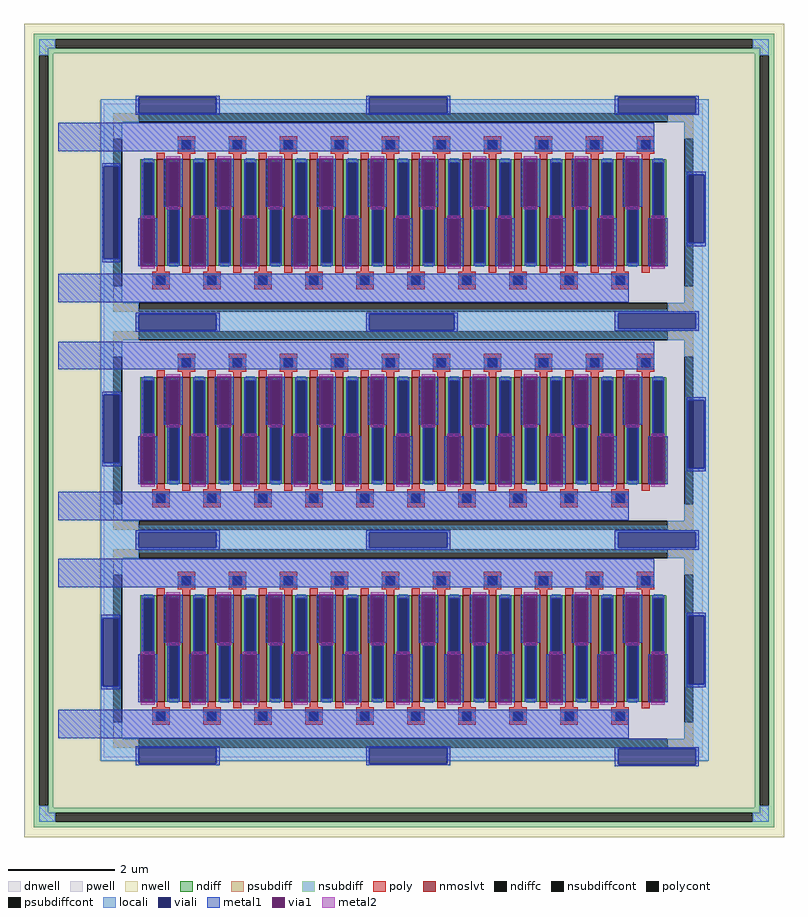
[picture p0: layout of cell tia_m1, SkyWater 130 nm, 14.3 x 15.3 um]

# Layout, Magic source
magic
tech sky130A
magscale 1 2
<< dnwell >>
rect 1480 -2240 4180 660
<< nwell >>
rect 1400 454 4260 740
rect 1400 -2034 1686 454
rect 3974 -2034 4260 454
rect 1400 -2320 4260 -2034
<< nsubdiff >>
rect 1437 683 4223 703
rect 1437 649 1517 683
rect 4143 649 4223 683
rect 1437 629 4223 649
rect 1437 623 1511 629
rect 1437 -2203 1457 623
rect 1491 -2203 1511 623
rect 1437 -2209 1511 -2203
rect 4149 623 4223 629
rect 4149 -2203 4169 623
rect 4203 -2203 4223 623
rect 4149 -2209 4223 -2203
rect 1437 -2229 4223 -2209
rect 1437 -2263 1517 -2229
rect 4143 -2263 4223 -2229
rect 1437 -2283 4223 -2263
<< nsubdiffcont >>
rect 1517 649 4143 683
rect 1457 -2203 1491 623
rect 4169 -2203 4203 623
rect 1517 -2263 4143 -2229
<< locali >>
rect 1457 649 1517 683
rect 4143 649 4203 683
rect 1457 623 1491 649
rect 4169 623 4203 649
rect 1688 404 1832 456
rect 2124 404 2700 456
rect 2992 404 3636 456
rect 3928 404 3976 456
rect 1688 376 3976 404
rect 1688 204 1764 376
rect 1688 -144 1700 204
rect 1756 -144 1764 204
rect 1688 -336 1764 -144
rect 3888 172 3976 376
rect 3888 -84 3900 172
rect 3960 -84 3976 172
rect 3888 -336 3976 -84
rect 1688 -348 3976 -336
rect 1688 -352 3636 -348
rect 1688 -412 1832 -352
rect 2124 -412 2700 -352
rect 3020 -408 3636 -352
rect 3928 -408 3976 -348
rect 3020 -412 3976 -408
rect 1688 -444 3976 -412
rect 1688 -656 1764 -444
rect 1688 -912 1700 -656
rect 1760 -912 1764 -656
rect 1688 -1148 1764 -912
rect 3888 -676 3976 -444
rect 3888 -932 3900 -676
rect 3960 -932 3976 -676
rect 3888 -1148 3976 -932
rect 1688 -1172 3976 -1148
rect 1688 -1232 1832 -1172
rect 2124 -1232 2700 -1172
rect 2992 -1232 3636 -1172
rect 3928 -1232 3976 -1172
rect 1688 -1248 3976 -1232
rect 1688 -1496 1764 -1248
rect 1688 -1752 1696 -1496
rect 1756 -1752 1764 -1496
rect 1688 -1952 1764 -1752
rect 3888 -1488 3976 -1248
rect 3888 -1744 3900 -1488
rect 3960 -1744 3976 -1488
rect 3888 -1952 3976 -1744
rect 1688 -1984 3976 -1952
rect 1688 -2032 1832 -1984
rect 2124 -2032 2700 -1984
rect 2992 -1988 3976 -1984
rect 2992 -2032 3636 -1988
rect 3928 -2032 3976 -1988
rect 1457 -2229 1491 -2203
rect 4169 -2229 4203 -2203
rect 1457 -2263 1517 -2229
rect 4143 -2263 4203 -2229
<< viali >>
rect 1832 404 2124 464
rect 2700 404 2992 464
rect 3636 404 3928 464
rect 1700 -144 1756 204
rect 3900 -84 3960 172
rect 1832 -412 2124 -352
rect 2700 -412 3020 -352
rect 3636 -408 3928 -348
rect 1700 -912 1760 -656
rect 3900 -932 3960 -676
rect 1832 -1232 2124 -1172
rect 2700 -1232 2992 -1172
rect 3636 -1232 3928 -1172
rect 1696 -1752 1756 -1496
rect 3900 -1744 3960 -1488
rect 1832 -2044 2124 -1984
rect 2700 -2044 2992 -1984
rect 3636 -2048 3928 -1988
<< metal1 >>
rect 1820 464 2136 470
rect 1820 404 1832 464
rect 2124 404 2136 464
rect 1820 398 2136 404
rect 2688 464 3004 470
rect 2688 404 2700 464
rect 2992 404 3004 464
rect 2688 398 3004 404
rect 3624 464 3940 470
rect 3624 404 3636 464
rect 3928 404 3940 464
rect 3624 398 3940 404
rect 1528 260 3772 368
rect 1694 204 1762 216
rect 1694 -144 1700 204
rect 1756 -144 1762 204
rect 1926 52 1936 232
rect 1988 52 1998 232
rect 2118 52 2128 232
rect 2180 52 2190 232
rect 2310 52 2320 232
rect 2372 52 2382 232
rect 2502 52 2512 232
rect 2564 52 2574 232
rect 2694 52 2704 232
rect 2756 52 2766 232
rect 2886 52 2896 232
rect 2948 52 2958 232
rect 3078 52 3088 232
rect 3140 52 3150 232
rect 3270 52 3280 232
rect 3332 52 3342 232
rect 3462 52 3472 232
rect 3524 52 3534 232
rect 3654 52 3664 232
rect 3716 52 3726 232
rect 3894 172 3966 184
rect 1694 -156 1762 -144
rect 1830 -172 1840 8
rect 1892 -172 1902 8
rect 2022 -172 2032 8
rect 2084 -172 2094 8
rect 2214 -172 2224 8
rect 2276 -172 2286 8
rect 2406 -172 2416 8
rect 2468 -172 2478 8
rect 2598 -172 2608 8
rect 2660 -172 2670 8
rect 2790 -172 2800 8
rect 2852 -172 2862 8
rect 2982 -172 2992 8
rect 3044 -172 3054 8
rect 3174 -172 3184 8
rect 3236 -172 3246 8
rect 3366 -172 3376 8
rect 3428 -172 3438 8
rect 3558 -172 3568 8
rect 3620 -172 3630 8
rect 3750 -172 3760 8
rect 3812 -172 3822 8
rect 3894 -84 3900 172
rect 3960 -84 3966 172
rect 3894 -96 3966 -84
rect 1528 -308 3676 -200
rect 1820 -352 2136 -346
rect 1820 -412 1832 -352
rect 2124 -412 2136 -352
rect 1820 -418 2136 -412
rect 2688 -352 3032 -346
rect 2688 -412 2700 -352
rect 3020 -412 3032 -352
rect 2688 -418 3032 -412
rect 3624 -348 3940 -342
rect 3624 -408 3636 -348
rect 3928 -408 3940 -348
rect 3624 -414 3940 -408
rect 1528 -560 3772 -456
rect 1694 -656 1766 -644
rect 1694 -912 1700 -656
rect 1760 -912 1766 -656
rect 1926 -768 1936 -588
rect 1988 -768 1998 -588
rect 2118 -768 2128 -588
rect 2180 -768 2190 -588
rect 2310 -768 2320 -588
rect 2372 -768 2382 -588
rect 2502 -768 2512 -588
rect 2564 -768 2574 -588
rect 2694 -768 2704 -588
rect 2756 -768 2766 -588
rect 2886 -768 2896 -588
rect 2948 -768 2958 -588
rect 3078 -768 3088 -588
rect 3140 -768 3150 -588
rect 3270 -768 3280 -588
rect 3332 -768 3342 -588
rect 3462 -768 3472 -588
rect 3524 -768 3534 -588
rect 3654 -768 3664 -588
rect 3716 -768 3726 -588
rect 3894 -676 3966 -664
rect 1694 -924 1766 -912
rect 1830 -992 1840 -812
rect 1892 -992 1902 -812
rect 2022 -992 2032 -812
rect 2084 -992 2094 -812
rect 2214 -992 2224 -812
rect 2276 -992 2286 -812
rect 2406 -992 2416 -812
rect 2468 -992 2478 -812
rect 2598 -992 2608 -812
rect 2660 -992 2670 -812
rect 2790 -992 2800 -812
rect 2852 -992 2862 -812
rect 2982 -992 2992 -812
rect 3044 -992 3054 -812
rect 3174 -992 3184 -812
rect 3236 -992 3246 -812
rect 3366 -992 3376 -812
rect 3428 -992 3438 -812
rect 3558 -992 3568 -812
rect 3620 -992 3630 -812
rect 3750 -992 3760 -812
rect 3812 -992 3822 -812
rect 3894 -932 3900 -676
rect 3960 -932 3966 -676
rect 3894 -944 3966 -932
rect 1528 -1128 3676 -1020
rect 1820 -1172 2136 -1166
rect 1820 -1232 1832 -1172
rect 2124 -1232 2136 -1172
rect 1820 -1238 2136 -1232
rect 2688 -1172 3004 -1166
rect 2688 -1232 2700 -1172
rect 2992 -1232 3004 -1172
rect 2688 -1238 3004 -1232
rect 3624 -1172 3940 -1166
rect 3624 -1232 3636 -1172
rect 3928 -1232 3940 -1172
rect 3624 -1238 3940 -1232
rect 1528 -1380 3772 -1272
rect 1690 -1496 1762 -1484
rect 1690 -1752 1696 -1496
rect 1756 -1752 1762 -1496
rect 1926 -1588 1936 -1408
rect 1988 -1588 1998 -1408
rect 2118 -1588 2128 -1408
rect 2180 -1588 2190 -1408
rect 2310 -1588 2320 -1408
rect 2372 -1588 2382 -1408
rect 2502 -1588 2512 -1408
rect 2564 -1588 2574 -1408
rect 2694 -1588 2704 -1408
rect 2756 -1588 2766 -1408
rect 2886 -1588 2896 -1408
rect 2948 -1588 2958 -1408
rect 3078 -1588 3088 -1408
rect 3140 -1588 3150 -1408
rect 3270 -1588 3280 -1408
rect 3332 -1588 3342 -1408
rect 3462 -1588 3472 -1408
rect 3524 -1588 3534 -1408
rect 3654 -1588 3664 -1408
rect 3716 -1588 3726 -1408
rect 3894 -1488 3966 -1476
rect 1690 -1764 1762 -1752
rect 1830 -1812 1840 -1632
rect 1892 -1812 1902 -1632
rect 2022 -1812 2032 -1632
rect 2084 -1812 2094 -1632
rect 2214 -1812 2224 -1632
rect 2276 -1812 2286 -1632
rect 2406 -1812 2416 -1632
rect 2468 -1812 2478 -1632
rect 2598 -1812 2608 -1632
rect 2660 -1812 2670 -1632
rect 2790 -1812 2800 -1632
rect 2852 -1812 2862 -1632
rect 2982 -1812 2992 -1632
rect 3044 -1812 3054 -1632
rect 3174 -1812 3184 -1632
rect 3236 -1812 3246 -1632
rect 3366 -1812 3376 -1632
rect 3428 -1812 3438 -1632
rect 3558 -1812 3568 -1632
rect 3620 -1812 3630 -1632
rect 3750 -1812 3760 -1632
rect 3812 -1812 3822 -1632
rect 3894 -1744 3900 -1488
rect 3960 -1744 3966 -1488
rect 3894 -1756 3966 -1744
rect 1528 -1948 3676 -1840
rect 1820 -1984 2136 -1978
rect 1820 -2044 1832 -1984
rect 2124 -2044 2136 -1984
rect 1820 -2050 2136 -2044
rect 2688 -1984 3004 -1978
rect 2688 -2044 2700 -1984
rect 2992 -2044 3004 -1984
rect 2688 -2050 3004 -2044
rect 3624 -1988 3940 -1982
rect 3624 -2048 3636 -1988
rect 3928 -2048 3940 -1988
rect 3624 -2054 3940 -2048
<< via1 >>
rect 1936 52 1988 232
rect 2128 52 2180 232
rect 2320 52 2372 232
rect 2512 52 2564 232
rect 2704 52 2756 232
rect 2896 52 2948 232
rect 3088 52 3140 232
rect 3280 52 3332 232
rect 3472 52 3524 232
rect 3664 52 3716 232
rect 1840 -172 1892 8
rect 2032 -172 2084 8
rect 2224 -172 2276 8
rect 2416 -172 2468 8
rect 2608 -172 2660 8
rect 2800 -172 2852 8
rect 2992 -172 3044 8
rect 3184 -172 3236 8
rect 3376 -172 3428 8
rect 3568 -172 3620 8
rect 3760 -172 3812 8
rect 1936 -768 1988 -588
rect 2128 -768 2180 -588
rect 2320 -768 2372 -588
rect 2512 -768 2564 -588
rect 2704 -768 2756 -588
rect 2896 -768 2948 -588
rect 3088 -768 3140 -588
rect 3280 -768 3332 -588
rect 3472 -768 3524 -588
rect 3664 -768 3716 -588
rect 1840 -992 1892 -812
rect 2032 -992 2084 -812
rect 2224 -992 2276 -812
rect 2416 -992 2468 -812
rect 2608 -992 2660 -812
rect 2800 -992 2852 -812
rect 2992 -992 3044 -812
rect 3184 -992 3236 -812
rect 3376 -992 3428 -812
rect 3568 -992 3620 -812
rect 3760 -992 3812 -812
rect 1936 -1588 1988 -1408
rect 2128 -1588 2180 -1408
rect 2320 -1588 2372 -1408
rect 2512 -1588 2564 -1408
rect 2704 -1588 2756 -1408
rect 2896 -1588 2948 -1408
rect 3088 -1588 3140 -1408
rect 3280 -1588 3332 -1408
rect 3472 -1588 3524 -1408
rect 3664 -1588 3716 -1408
rect 1840 -1812 1892 -1632
rect 2032 -1812 2084 -1632
rect 2224 -1812 2276 -1632
rect 2416 -1812 2468 -1632
rect 2608 -1812 2660 -1632
rect 2800 -1812 2852 -1632
rect 2992 -1812 3044 -1632
rect 3184 -1812 3236 -1632
rect 3376 -1812 3428 -1632
rect 3568 -1812 3620 -1632
rect 3760 -1812 3812 -1632
<< metal2 >>
rect 1936 232 1988 242
rect 1936 42 1988 52
rect 2128 232 2180 242
rect 2128 42 2180 52
rect 2320 232 2372 242
rect 2320 42 2372 52
rect 2512 232 2564 242
rect 2512 42 2564 52
rect 2704 232 2756 242
rect 2704 42 2756 52
rect 2896 232 2948 242
rect 2896 42 2948 52
rect 3088 232 3140 242
rect 3088 42 3140 52
rect 3280 232 3332 242
rect 3280 42 3332 52
rect 3472 232 3524 242
rect 3472 42 3524 52
rect 3664 232 3716 242
rect 3664 42 3716 52
rect 1840 8 1892 18
rect 1840 -182 1892 -172
rect 2032 8 2084 18
rect 2032 -182 2084 -172
rect 2224 8 2276 18
rect 2224 -182 2276 -172
rect 2416 8 2468 18
rect 2416 -182 2468 -172
rect 2608 8 2660 18
rect 2608 -182 2660 -172
rect 2800 8 2852 18
rect 2800 -182 2852 -172
rect 2992 8 3044 18
rect 2992 -182 3044 -172
rect 3184 8 3236 18
rect 3184 -182 3236 -172
rect 3376 8 3428 18
rect 3376 -182 3428 -172
rect 3568 8 3620 18
rect 3568 -182 3620 -172
rect 3760 8 3812 18
rect 3760 -182 3812 -172
rect 1936 -588 1988 -578
rect 1936 -778 1988 -768
rect 2128 -588 2180 -578
rect 2128 -778 2180 -768
rect 2320 -588 2372 -578
rect 2320 -778 2372 -768
rect 2512 -588 2564 -578
rect 2512 -778 2564 -768
rect 2704 -588 2756 -578
rect 2704 -778 2756 -768
rect 2896 -588 2948 -578
rect 2896 -778 2948 -768
rect 3088 -588 3140 -578
rect 3088 -778 3140 -768
rect 3280 -588 3332 -578
rect 3280 -778 3332 -768
rect 3472 -588 3524 -578
rect 3472 -778 3524 -768
rect 3664 -588 3716 -578
rect 3664 -778 3716 -768
rect 1840 -812 1892 -802
rect 1840 -1002 1892 -992
rect 2032 -812 2084 -802
rect 2032 -1002 2084 -992
rect 2224 -812 2276 -802
rect 2224 -1002 2276 -992
rect 2416 -812 2468 -802
rect 2416 -1002 2468 -992
rect 2608 -812 2660 -802
rect 2608 -1002 2660 -992
rect 2800 -812 2852 -802
rect 2800 -1002 2852 -992
rect 2992 -812 3044 -802
rect 2992 -1002 3044 -992
rect 3184 -812 3236 -802
rect 3184 -1002 3236 -992
rect 3376 -812 3428 -802
rect 3376 -1002 3428 -992
rect 3568 -812 3620 -802
rect 3568 -1002 3620 -992
rect 3760 -812 3812 -802
rect 3760 -1002 3812 -992
rect 1936 -1408 1988 -1398
rect 1936 -1598 1988 -1588
rect 2128 -1408 2180 -1398
rect 2128 -1598 2180 -1588
rect 2320 -1408 2372 -1398
rect 2320 -1598 2372 -1588
rect 2512 -1408 2564 -1398
rect 2512 -1598 2564 -1588
rect 2704 -1408 2756 -1398
rect 2704 -1598 2756 -1588
rect 2896 -1408 2948 -1398
rect 2896 -1598 2948 -1588
rect 3088 -1408 3140 -1398
rect 3088 -1598 3140 -1588
rect 3280 -1408 3332 -1398
rect 3280 -1598 3332 -1588
rect 3472 -1408 3524 -1398
rect 3472 -1598 3524 -1588
rect 3664 -1408 3716 -1398
rect 3664 -1598 3716 -1588
rect 1840 -1632 1892 -1622
rect 1840 -1822 1892 -1812
rect 2032 -1632 2084 -1622
rect 2032 -1822 2084 -1812
rect 2224 -1632 2276 -1622
rect 2224 -1822 2276 -1812
rect 2416 -1632 2468 -1622
rect 2416 -1822 2468 -1812
rect 2608 -1632 2660 -1622
rect 2608 -1822 2660 -1812
rect 2800 -1632 2852 -1622
rect 2800 -1822 2852 -1812
rect 2992 -1632 3044 -1622
rect 2992 -1822 3044 -1812
rect 3184 -1632 3236 -1622
rect 3184 -1822 3236 -1812
rect 3376 -1632 3428 -1622
rect 3376 -1822 3428 -1812
rect 3568 -1632 3620 -1622
rect 3568 -1822 3620 -1812
rect 3760 -1632 3812 -1622
rect 3760 -1822 3812 -1812
use sky130_fd_pr__nfet_01v8_lvt_SDPJLJ  sky130_fd_pr__nfet_01v8_lvt_SDPJLJ_0
transform 1 0 2827 0 1 -790
box -1127 -410 1127 410
use sky130_fd_pr__nfet_01v8_lvt_SDPJLJ  sky130_fd_pr__nfet_01v8_lvt_SDPJLJ_1
transform 1 0 2827 0 1 -1610
box -1127 -410 1127 410
use sky130_fd_pr__nfet_01v8_lvt_SDPJLJ  sky130_fd_pr__nfet_01v8_lvt_SDPJLJ_2
transform 1 0 2827 0 1 30
box -1127 -410 1127 410
<< end >>

# cell sky130_fd_pr__nfet_01v8_lvt_SDPJLJ: kit device sky130_fd_pr__nfet_01v8_lvt, w 2 l 0.150 m 1 nf 20 diffcov 100 polycov 100 guard 1 glc 1 grc 1 gtc 1 gbc 1 tbcov 100 rlcov 100 topc 1 botc 1 poverlap 0 doverlap 1 lmin 0.15 wmin 0.42 compatible {sky130_fd_pr__nfet_01v8 sky130_fd_pr__nfet_01v8_lvt sky130_fd_bs_flash__special_sonosfet_star sky130_fd_pr__nfet_g5v0d10v5 sky130_fd_pr__nfet_05v0_nvt sky130_fd_pr__nfet_03v3_nvt} full_metal 1 viasrc 100 viadrn 100 viagate 100 viagb 0 viagr 0 viagl 0 viagt 0
